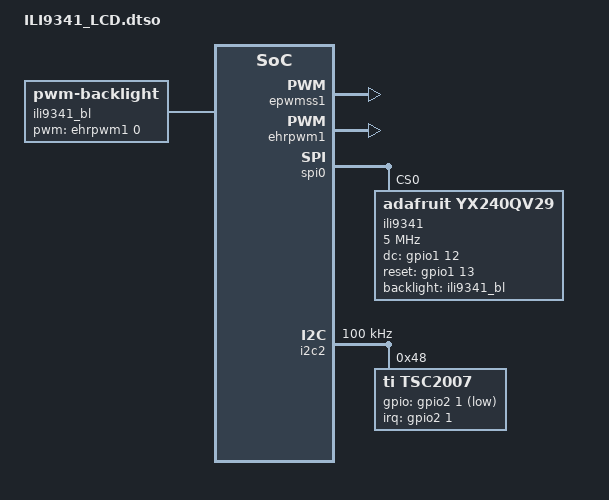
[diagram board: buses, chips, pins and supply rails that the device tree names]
/dts-v1/;
/plugin/;

#include <dt-bindings/gpio/gpio.h>
#include <dt-bindings/interrupt-controller/irq.h>
#include <dt-bindings/pinctrl/am33xx.h>

&am33xx_pinmux {
    spi0_pins: pinmux_spi0_pins {
        pinctrl-single,pins = <
            AM33XX_IOPAD(AM335X_PIN_SPI0_SCLK, PIN_INPUT_PULLUP  | MUX_MODE0) /* P9_22 (SCLK) */
            AM33XX_IOPAD(AM335X_PIN_SPI0_D0,   PIN_INPUT_PULLUP  | MUX_MODE0) /* P9_21 (MISO) */
            AM33XX_IOPAD(AM335X_PIN_SPI0_D1,   PIN_OUTPUT_PULLUP | MUX_MODE0) /* P9_18 (MOSI) */
            AM33XX_IOPAD(AM335X_PIN_SPI0_CS0,  PIN_OUTPUT_PULLUP | MUX_MODE0) /* P9_17 (CS0)  */
        >;
    };

    ili9341_ctrl_pins: pinmux_ili9341_ctrl_pins {
        pinctrl-single,pins = <
            AM33XX_IOPAD(AM335X_PIN_GPMC_AD13, PIN_OUTPUT | MUX_MODE7) /* D/C   */
            AM33XX_IOPAD(AM335X_PIN_GPMC_AD12, PIN_OUTPUT | MUX_MODE7) /* RESET */
        >;
    };

    lcd_backlight_pwm_pins: pinmux_lcd_backlight_pwm_pins {
        pinctrl-single,pins = <
            AM33XX_IOPAD(AM335X_PIN_GPMC_A2, PIN_OUTPUT | MUX_MODE6) /* P9_14 = EHRPWM1A */
        >;
    };
};

&{/} {
    ili9341_bl: backlight {
        compatible = "pwm-backlight";
        pwms = <&ehrpwm1 0 50000 0>;
        brightness-levels = <0 4 8 16 32 64 128 255>;
        default-brightness-level = <7>;
        status = "okay";
    };
};

&epwmss1 {
    status = "okay";
};

&ehrpwm1 {
    status = "okay";
    pinctrl-names = "default";
    pinctrl-0 = <&lcd_backlight_pwm_pins>;
};

&spi0 {
    status = "okay";
    #address-cells = <1>;
    #size-cells = <0>;
    pinctrl-names = "default";
    pinctrl-0 = <&spi0_pins &ili9341_ctrl_pins>;

    ili9341@0 {
        compatible = "adafruit,yx240qv29", "ilitek,ili9341";
        reg = <0>;
        write-only;
        spi-max-frequency = <5000000>;

        dc-gpios = <&gpio1 12 GPIO_ACTIVE_HIGH>;
        reset-gpios = <&gpio1 13 GPIO_ACTIVE_HIGH>;
        backlight = <&ili9341_bl>;

        rotation = <0>;
        status = "okay";
    };
};

&i2c2 {
    status = "okay";
    clock-frequency = <100000>;
    #address-cells = <1>;
    #size-cells = <0>;

    tsc2007@48 {
        compatible = "ti,tsc2007";
        reg = <0x48>;

        interrupt-parent = <&gpio2>;
        interrupts = <1 IRQ_TYPE_EDGE_FALLING>;
        gpios = <&gpio2 1 GPIO_ACTIVE_LOW>;

        ti,x-plate-ohms = <200>;
        touchscreen-size-x = <4095>;
        touchscreen-size-y = <4095>;

        status = "okay";
    };
};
